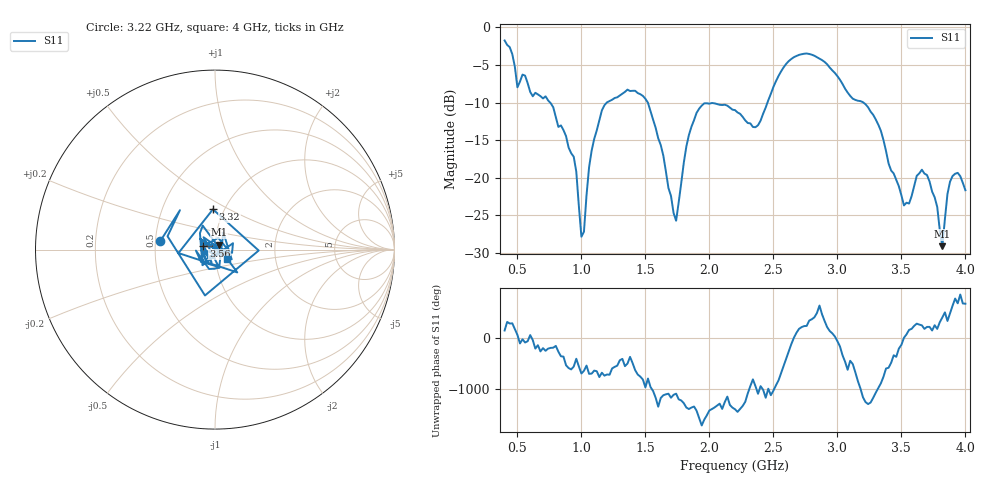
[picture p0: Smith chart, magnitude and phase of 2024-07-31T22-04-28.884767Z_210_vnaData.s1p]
!Created with skrf (http://scikit-rf.org).
# Hz S RI R 50.0
!freq ReS11 ImS11
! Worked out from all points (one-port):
!   181 points, 400 MHz to 4 GHz, reference 50 ohm
!   lowest |S11| = -29.1 dB at 3.82 GHz (marker M1), VSWR 1.07, Z = 52.2 + j2.81 ohm
!   |S11| at or under -10 dB: 755.2 MHz to 1.199 GHz (443.6 MHz wide, 45.4 % of centre); 1.519 GHz to 2.454 GHz (935 MHz wide, 47.1 % of centre); 3.203 GHz to end of sweep
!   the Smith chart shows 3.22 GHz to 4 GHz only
!   S11 on the Smith chart (normalised r, x): 3.22 GHz: 0.53, +0.06; 3.32 GHz: 0.88, +0.42; 3.56 GHz: 0.88, +0.04; 4 GHz: 1.13, -0.12
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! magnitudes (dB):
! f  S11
! 400 MHz  -1.7
! 500 MHz  -8.0
! 560 MHz  -6.4
! 860 MHz  -13.7
! 960 MHz  -19.2
! 1 GHz  -27.9
! 1.02 GHz  -27.2
! 1.08 GHz  -16.4
! 1.16 GHz  -11.0
! 1.3 GHz  -9.1
! 1.52 GHz  -10.0
! 1.72 GHz  -24.7
! 1.76 GHz  -23.3
! 1.82 GHz  -15.9
! 1.9 GHz  -11.4
! 2.2 GHz  -11.0
! 2.38 GHz  -13.0
! 2.66 GHz  -4.0
! 2.88 GHz  -4.4
! 3.1 GHz  -9.1
! 3.22 GHz  -10.2
! 3.32 GHz  -13.0
! 3.56 GHz  -23.5
! 3.62 GHz  -19.8
! 3.7 GHz  -19.7
! 3.82 GHz  -29.1
! 3.88 GHz  -20.5
! 4 GHz  -21.7
